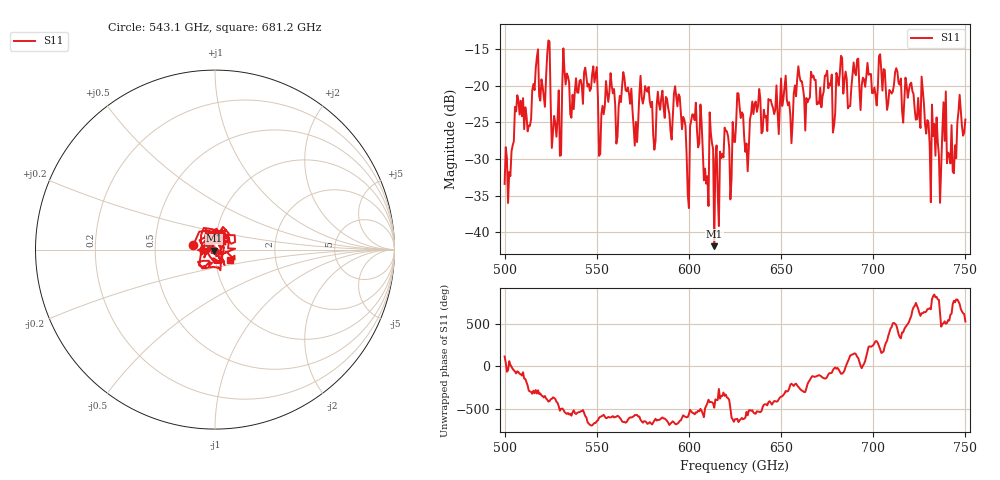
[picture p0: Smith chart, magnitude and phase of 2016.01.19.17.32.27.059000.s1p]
!Created with skrf (http://scikit-rf.org).
# GHz S RI R 50.0
!freq ReS11 ImS11
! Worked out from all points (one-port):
!   401 points, 500 GHz to 750 GHz, reference 50 ohm
!   lowest |S11| = -41.9 dB at 613.8 GHz (marker M1), VSWR 1.02, Z = 49.5 - j0.616 ohm
!   |S11| at or under -10 dB: start of sweep to end of sweep
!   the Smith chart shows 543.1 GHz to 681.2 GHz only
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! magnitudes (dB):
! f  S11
! 500 GHz  -33.4
! 506.9 GHz  -21.3
! 513.1 GHz  -25.4
! 516.9 GHz  -17.7
! 523.8 GHz  -13.8
! 526.9 GHz  -24.1
! 531.2 GHz  -20.1
! 533.1 GHz  -19.8
! 536.9 GHz  -21.2
! 548.8 GHz  -19.5
! 552.5 GHz  -23.9
! 556.2 GHz  -22.2
! 562.5 GHz  -21.4
! 593.8 GHz  -22.8
! 598.8 GHz  -29.4
! 602.5 GHz  -24.0
! 609.4 GHz  -33.3
! 613.8 GHz  -41.9
! 615 GHz  -28.1
! 625 GHz  -27.7
! 631.2 GHz  -27.9
! 656.2 GHz  -25.1
! 660 GHz  -18.7
! 687.5 GHz  -22.8
! 690.6 GHz  -18.6
! 718.8 GHz  -21.6
! 736.2 GHz  -36.0
! 750 GHz  -24.6
